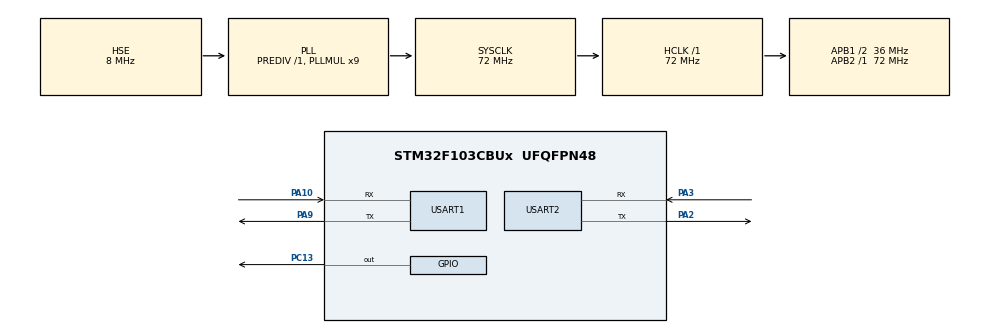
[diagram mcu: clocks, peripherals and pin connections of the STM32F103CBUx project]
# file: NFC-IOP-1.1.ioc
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Mcu.Family=STM32F1
Mcu.Name=STM32F103CBUx
Mcu.Package=UFQFPN48
NVIC.PriorityGroup=NVIC_PRIORITYGROUP_4
NVIC.USART1_IRQn=true\:0\:0\:false\:false\:true\:true\:true\:true
NVIC.USART2_IRQn=true\:0\:0\:false\:false\:true\:true\:true\:true
PA10.Mode=Asynchronous
PA10.Signal=USART1_RX
PA13.Mode=Serial_Wire
PA13.Signal=SYS_JTMS-SWDIO
PA14.Mode=Serial_Wire
PA14.Signal=SYS_JTCK-SWCLK
PA2.Mode=Asynchronous
PA2.Signal=USART2_TX
PA3.Mode=Asynchronous
PA3.Signal=USART2_RX
PA9.Mode=Asynchronous
PA9.Signal=USART1_TX
PC13-TAMPER-RTC.GPIO_Speed=GPIO_SPEED_FREQ_HIGH
PC13-TAMPER-RTC.PinState=GPIO_PIN_SET
PC13-TAMPER-RTC.Signal=GPIO_Output
PD0-OSC_IN.Mode=HSE-External-Oscillator
PD0-OSC_IN.Signal=RCC_OSC_IN
PD1-OSC_OUT.Mode=HSE-External-Oscillator
PD1-OSC_OUT.Signal=RCC_OSC_OUT
ProjectManager.HeapSize=0x200
ProjectManager.StackSize=0x400
ProjectManager.TargetToolchain=STM32CubeIDE
RCC.AHBFreq_Value=72000000
RCC.APB1CLKDivider=RCC_HCLK_DIV2
RCC.APB1Freq_Value=36000000
RCC.APB1TimFreq_Value=72000000
RCC.APB2Freq_Value=72000000
RCC.APB2TimFreq_Value=72000000
RCC.HCLKFreq_Value=72000000
RCC.PLLMUL=RCC_PLL_MUL9
RCC.PLLSourceVirtual=RCC_PLLSOURCE_HSE
RCC.SYSCLKFreq_VALUE=72000000
RCC.SYSCLKSource=RCC_SYSCLKSOURCE_PLLCLK
RCC.USBFreq_Value=72000000
USART1.VirtualMode=VM_ASYNC
USART2.VirtualMode=VM_ASYNC
board=custom

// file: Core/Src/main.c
/* USER CODE BEGIN Header */
/**
  ******************************************************************************
  * @file           : main.c
  * @brief          : Main program body
  ******************************************************************************
  * @attention
  *
  * Copyright (c) 2025 STMicroelectronics.
  * All rights reserved.
  *
  * This software is licensed under terms that can be found in the LICENSE file
  * in the root directory of this software component.
  * If no LICENSE file comes with this software, it is provided AS-IS.
  *
  ******************************************************************************
  */
/* USER CODE END Header */
#include "main.h"
#include "usart.h"
#include "gpio.h"

/* USER CODE BEGIN Includes */
#include <string.h>
/* USER CODE END Includes */

/* USER CODE BEGIN PV */
uint8_t rx_buffer_usart2;  // USART2接收缓冲区
uint8_t rx_buffer_usart1;  // USART1接收缓冲区

// 循环发送数据相关变量
uint8_t tx_data[] = {0x20, 0x00, 0x57, 0x02, 0x00, 0x2C, 0x86, 0x03};  // 要发送的数据
uint8_t tx_index = 0;  // 发送索引
uint32_t last_tx_time = 0;  // 上次发送时间
uint8_t tx_send_count = 0;  // 发送次数计数器

// 缓冲区相关变量（防卡死）
uint8_t usart1_to_ble_buffer[64];  // USART1到BLE的缓冲区
uint8_t usart1_to_ble_index = 0;   // USART1到BLE缓冲区索引
uint8_t ble_to_usart1_buffer[64];  // BLE到USART1的缓冲区
uint8_t ble_to_usart1_index = 0;   // BLE到USART1缓冲区索引
uint8_t usart1_to_ble_flag = 0;    // USART1到BLE发送标志
uint8_t ble_to_usart1_flag = 0;    // BLE到USART1发送标志
uint32_t last_send_time = 0;        // 上次发送时间

/* USER CODE END PV */

void SystemClock_Config(void);
/* USER CODE BEGIN PFP */
void HAL_UART_RxCpltCallback(UART_HandleTypeDef *huart);
/* USER CODE END PFP */

int main(void)
{

  /* MCU Configuration--------------------------------------------------------*/

  /* Reset of all peripherals, Initializes the Flash interface and the Systick. */
  HAL_Init();

  /* Configure the system clock */
  SystemClock_Config();

  /* Initialize all configured peripherals */
  MX_GPIO_Init();
  MX_USART1_UART_Init();
  MX_USART2_UART_Init();
  /* USER CODE BEGIN 2 */
  // 启动USART2接收中断（用于BLE透传）
  HAL_UART_Receive_IT(&huart2, &rx_buffer_usart2, 1);
  HAL_NVIC_SetPriority(USART2_IRQn, 0, 0);
  HAL_NVIC_EnableIRQ(USART2_IRQn);

  // 启动USART1接收中断（接收数据通过BLE透传到手机）
  HAL_UART_Receive_IT(&huart1, &rx_buffer_usart1, 1);
  HAL_NVIC_SetPriority(USART1_IRQn, 0, 0);
  HAL_NVIC_EnableIRQ(USART1_IRQn);

  /* USER CODE END 2 */

  /* Infinite loop */
  while (1)
  {

    /* USER CODE BEGIN 3 */
    uint32_t current_time = HAL_GetTick();

    // 上电后发送两次固定数据到USART1
    if (tx_send_count < 2 && current_time - last_tx_time >= 1000) {  // 每1秒发送一次，最多发送2次
      // 发送完整的数据包
      HAL_UART_Transmit(&huart1, tx_data, sizeof(tx_data), 1000);
      tx_send_count++;  // 增加发送计数
      last_tx_time = current_time;
    }

    // 处理缓冲数据发送（防卡死机制）
    if ((usart1_to_ble_flag || ble_to_usart1_flag) && (current_time - last_send_time >= 50)) {  // 至少间隔50ms，提高实时性
      // 发送USART1到BLE的数据
      if (usart1_to_ble_flag && usart1_to_ble_index > 0) {
        HAL_UART_Transmit(&huart2, usart1_to_ble_buffer, usart1_to_ble_index, 1000);
        usart1_to_ble_index = 0;  // 重置缓冲区
        usart1_to_ble_flag = 0;   // 清除发送标志
      }

      // 发送BLE到USART1的数据（无限制透传）
      if (ble_to_usart1_flag && ble_to_usart1_index > 0) {
        HAL_UART_Transmit(&huart1, ble_to_usart1_buffer, ble_to_usart1_index, 1000);
        ble_to_usart1_index = 0;  // 重置缓冲区
        ble_to_usart1_flag = 0;   // 清除发送标志
      }

      last_send_time = current_time;
    }

    // 防止缓冲区溢出
    if (usart1_to_ble_index >= 63 || ble_to_usart1_index >= 63) {
      // 发送USART1到BLE的数据
      if (usart1_to_ble_flag && usart1_to_ble_index > 0) {
        HAL_UART_Transmit(&huart2, usart1_to_ble_buffer, usart1_to_ble_index, 1000);
        usart1_to_ble_index = 0;  // 重置缓冲区
        usart1_to_ble_flag = 0;   // 清除发送标志
      }

      // 发送BLE到USART1的数据（无限制透传）
      if (ble_to_usart1_flag && ble_to_usart1_index > 0) {
        HAL_UART_Transmit(&huart1, ble_to_usart1_buffer, ble_to_usart1_index, 1000);
        ble_to_usart1_index = 0;  // 重置缓冲区
        ble_to_usart1_flag = 0;   // 清除发送标志
      }
    }

    HAL_Delay(100);  // 增加延时，提高稳定性
  }
  /* USER CODE END 3 */
}

void SystemClock_Config(void)
{
  RCC_OscInitTypeDef RCC_OscInitStruct = {0};
  RCC_ClkInitTypeDef RCC_ClkInitStruct = {0};

  /** Initializes the RCC Oscillators according to the specified parameters
  * in the RCC_OscInitTypeDef structure.
  */
  RCC_OscInitStruct.OscillatorType = RCC_OSCILLATORTYPE_HSE;
  RCC_OscInitStruct.HSEState = RCC_HSE_ON;
  RCC_OscInitStruct.HSEPredivValue = RCC_HSE_PREDIV_DIV1;
  RCC_OscInitStruct.HSIState = RCC_HSI_ON;
  RCC_OscInitStruct.PLL.PLLState = RCC_PLL_ON;
  RCC_OscInitStruct.PLL.PLLSource = RCC_PLLSOURCE_HSE;
  RCC_OscInitStruct.PLL.PLLMUL = RCC_PLL_MUL9;
  if (HAL_RCC_OscConfig(&RCC_OscInitStruct) != HAL_OK)
  {
    Error_Handler();
  }

  /** Initializes the CPU, AHB and APB buses clocks
  */
  RCC_ClkInitStruct.ClockType = RCC_CLOCKTYPE_HCLK|RCC_CLOCKTYPE_SYSCLK
                              |RCC_CLOCKTYPE_PCLK1|RCC_CLOCKTYPE_PCLK2;
  RCC_ClkInitStruct.SYSCLKSource = RCC_SYSCLKSOURCE_PLLCLK;
  RCC_ClkInitStruct.AHBCLKDivider = RCC_SYSCLK_DIV1;
  RCC_ClkInitStruct.APB1CLKDivider = RCC_HCLK_DIV2;
  RCC_ClkInitStruct.APB2CLKDivider = RCC_HCLK_DIV1;

  if (HAL_RCC_ClockConfig(&RCC_ClkInitStruct, FLASH_LATENCY_2) != HAL_OK)
  {
    Error_Handler();
  }
}

/* USER CODE BEGIN 4 */
void HAL_UART_RxCpltCallback(UART_HandleTypeDef *huart) {
  if (huart->Instance == USART1) {
    // 将数据添加到USART1到BLE的缓冲区
    if (usart1_to_ble_index < 63) {  // 留1字节空间
      usart1_to_ble_buffer[usart1_to_ble_index++] = rx_buffer_usart1;
      usart1_to_ble_flag = 1;  // 设置发送标志
    }

    // 重新启动USART1接收
    HAL_UART_Receive_IT(&huart1, &rx_buffer_usart1, 1);
  }
  else if (huart->Instance == USART2) {
    // 透传模式：将数据添加到BLE到USART1的缓冲区
    if (ble_to_usart1_index < 63) {  // 留1字节空间
      ble_to_usart1_buffer[ble_to_usart1_index++] = rx_buffer_usart2;
      ble_to_usart1_flag = 1;  // 设置发送标志
    }

    // 重新启动USART2接收
    HAL_UART_Receive_IT(&huart2, &rx_buffer_usart2, 1);
  }
}

/* USER CODE END 4 */

void Error_Handler(void)
{
  __disable_irq();
  while (1)
  {
  }
}
